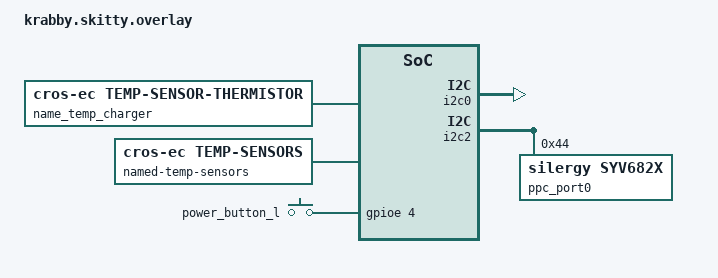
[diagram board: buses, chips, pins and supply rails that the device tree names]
/* Copyright 2022 The ChromiumOS Authors
 * Use of this source code is governed by a BSD-style license that can be
 * found in the LICENSE file.
 */

#include "common.dtsi"
#include "../program/corsola/ite_gpio.dtsi"
#include "../program/corsola/ite_interrupts.dtsi"
#include "../program/corsola/skitty/thermistor.dtsi"

/* remove pinctrl to avoid pull in too many unwanted dependency */
/delete-node/ &pinctrl;

/delete-node/ &int_usb_c0_ppc_bc12;

/delete-node/ &int_volume_up;

/delete-node/ &int_volume_down;

/delete-node/ &int_tablet_mode;

/delete-node/ &{/hibernate-wake-pins};

/*
 * The unused-pins functionality is not currently tested. Remove
 * to avoid mismatches in the GPIO flags configuration.
 */
/delete-node/ &{/unused-pins};

/ {
	name_temp_charger: charger {
		compatible = "cros-ec,temp-sensor-thermistor";

		thermistor = <&thermistor_rt9490>;
		adc = <&adc_charger>;
	};

	named-temp-sensors {
		compatible = "cros-ec,temp-sensors";
		temp_charger: charger {
			status = "okay";
			sensor = <&name_temp_charger>;
		};
	};

	named-gpios {
		/delete-node/ usb_c0_ppc_bc12_int_odl;

		usb_c0_ppc_int_odl: usb_c0_ppc_int_odl {
			gpios = <&gpiod 1 GPIO_INPUT>;
			enum-name = "GPIO_USB_C0_PPC_INT_ODL";
		};

		/delete-node/ usb_c0_ppc_frsinfo;

		usb_c0_frs_en: usb_c0_frs_en {
			gpios = <&gpiof 0 GPIO_OUTPUT_LOW>;
			enum-name = "GPIO_USB_C0_FRS_EN";
		};
	};

	gpio-interrupts {
		/delete-node/ usb_c0_ppc_bc12;
	};

	named-i2c-ports {
	    compatible = "named-i2c-ports";

	    i2c_sensor: i2c-sensor {
		    i2c-port = <&i2c0>;
		    enum-names = "I2C_PORT_SENSOR";
	    };
	    i2c_eeprom: i2c-eeprom {
		    i2c-port = <&i2c0>;
		    enum-names = "I2C_PORT_EEPROM";
	    };
	};

	gpio-interrupts {
		/delete-node/ base_imu;
		/delete-node/ lid_imu;

		int_usb_c0_ppc: usb_c0_ppc {
			irq-pin = <&usb_c0_ppc_int_odl>;
			flags = <GPIO_INT_EDGE_FALLING>;
			handler = "ppc_interrupt";
		};

		int_x_ec_gpio2: x_ec_gpio2 {
			/* We have bypassed the db detection, so link
			 * int_x_ec_gpio2 to ppc_interrupt directly.
			 */
			handler = "ppc_interrupt";
		};
	};

	usbc {
		port0@0 {
			ppc_alt = <&ppc_port0>;
		};
		/delete-node/ port1@1;
	};
};

/* open-drain is not supported in gpio emul, re-config to push-pull  */
&ec_pmic_en_odl {
	gpios = <&gpiod 0 (GPIO_OUTPUT_HIGH | GPIO_INPUT | GPIO_VOLTAGE_1P8)>;
};
&sys_rst_odl {
	gpios = <&gpiog 1 GPIO_OUTPUT_LOW>;
};
&gpio_ec_bl_en_od {
	gpios = <&gpiob 5 (GPIO_OUTPUT_LOW | GPIO_INPUT | GPIO_VOLTAGE_1P8)>;
};
&ec_int_l {
	gpios = <&gpioe 6 (GPIO_OUTPUT_HIGH | GPIO_INPUT | GPIO_VOLTAGE_1P8)>;
};
&ec_ap_dp_hpd_odl {
	gpios = <&gpioj 0 (GPIO_OUTPUT_HIGH | GPIO_INPUT | GPIO_VOLTAGE_1P8)>;
};
&en_ec_id_odl {
	gpios = <&gpioh 5 (GPIO_OUTPUT_HIGH | GPIO_INPUT)>;
};

/* set default gpio-emul state */
&power_button_l {
	gpios = <&gpioe 4 (GPIO_INPUT | GPIO_PULL_UP)>;
};

&i2c0 {
	status="okay";

	/delete-node/ pi3usb9201_emul0;

	/delete-node/ ppc0_emul;

	/delete-node/ ppc1_emul;

	/delete-node/ rt1718s_emul;

	/delete-node/ ppc_port1;

	/delete-node/ bc12_ppc_port0;
};

&i2c2 {
	status="okay";

	ppc_port0: syv682x@44 {
		compatible = "silergy,syv682x", "cros,i2c-mock";
		status = "okay";
		reg = <0x44>;
	};
};

&i2c4 {
	/delete-node/ tusb1064-mux-1@44;

	/delete-node/ ps8743_mux_1;
};
